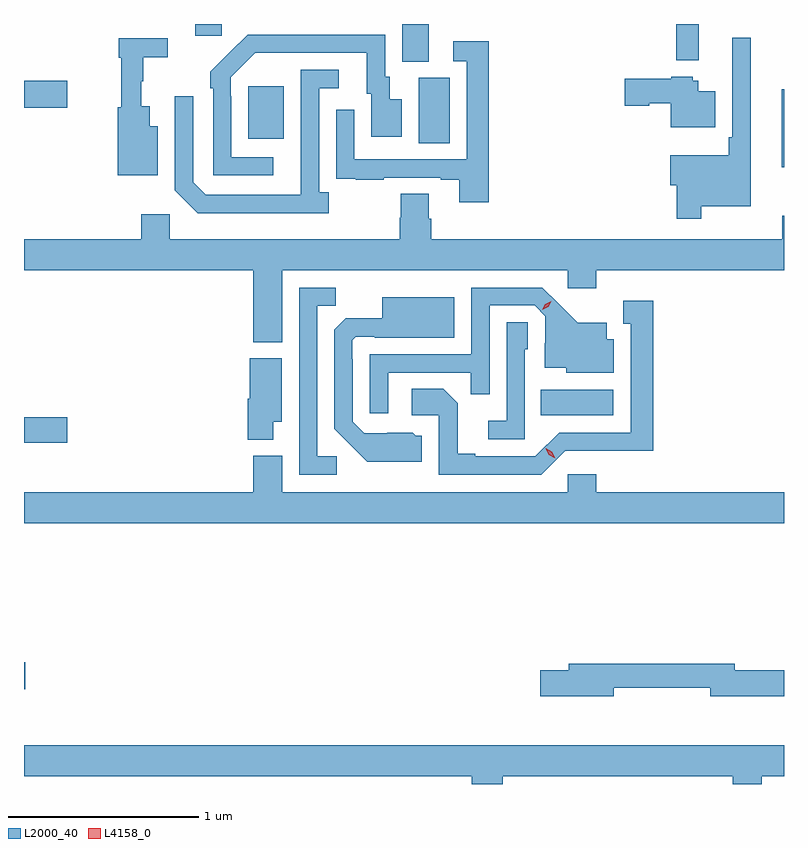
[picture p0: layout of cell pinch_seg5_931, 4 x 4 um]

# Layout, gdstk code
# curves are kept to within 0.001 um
import gdstk
lib = gdstk.Library(unit=1e-6, precision=1e-09)
def R(c, l, rs):  # rectangles x0, y0, x1, y1
    for r in rs: c.add(gdstk.rectangle(r[:2], r[2:], *l))
def P(c, l, *ps):  # polygons
    for p in ps: c.add(gdstk.Polygon(p, *l))
L2000_40 = (2000, 40)
L4158_0 = (4158, 0)

pinch_seg5_931 = lib.new_cell('pinch_seg5_931')
R(pinch_seg5_931, L2000_40, [(687.205,890.518,687.211,890.66), (687.205,891.815,687.433,891.95), (689.926,891.962,690.307,892.096), (691.193,893.267,691.205,893.677), (689.282,893.392,689.446,893.736), (688.385,893.417,688.573,893.692), (687.205,893.579,687.433,893.721), (689.195,893.821,689.335,894.02), (690.637,893.828,690.755,894.02), (688.106,893.958,688.245,894.02)])
P(pinch_seg5_931, L2000_40, [(688.516,893.319),(688.296,893.319),(688.296,893.639),(688.293,893.639),(688.293,893.739),(688.422,893.868),(689.009,893.868),(689.009,893.652),(689.033,893.652),(689.033,893.427),(689.194,893.427),(689.194,893.623),(689.131,893.623),(689.131,893.742),(689.106,893.742),(689.106,893.964),(688.382,893.964),(688.185,893.769),(688.185,893.681),(688.2,893.681),(688.2,893.223),(688.516,893.223)],
  [(690.769,893.06),(691.03,893.06),(691.03,893.947),(690.933,893.947),(690.933,893.425),(690.913,893.425),(690.913,893.329),(690.606,893.329),(690.606,893.171),(690.64,893.171),(690.64,892.995),(690.769,892.995)],
  [(687.91,893.482),(687.868,893.482),(687.868,893.587),(687.821,893.587),(687.821,893.718),(687.832,893.718),(687.832,893.845),(687.961,893.845),(687.961,893.946),(687.703,893.946),(687.703,893.843),(687.718,893.843),(687.718,893.583),(687.698,893.583),(687.698,893.225),(687.91,893.225)],
  [(689.651,893.929),(689.463,893.929),(689.463,893.823),(689.535,893.823),(689.535,893.307),(688.944,893.307),(688.944,893.569),(688.848,893.569),(688.848,893.314),(688.849,893.314),(688.849,893.205),(688.951,893.205),(688.951,893.199),(689.099,893.199),(689.099,893.211),(689.399,893.211),(689.399,893.199),(689.495,893.199),(689.495,893.082),(689.651,893.082)],
  [(688.81,893.134),(688.758,893.134),(688.758,893.682),(688.861,893.682),(688.861,893.778),(688.662,893.778),(688.661,893.121),(688.161,893.121),(688.095,893.187),(688.095,893.641),(687.999,893.641),(687.999,893.145),(688.12,893.024),(688.81,893.024)],
  [(690.844,893.665),(690.754,893.665),(690.754,893.721),(690.726,893.721),(690.726,893.743),(690.612,893.743),(690.612,893.733),(690.366,893.733),(690.366,893.591),(690.495,893.591),(690.495,893.603),(690.608,893.603),(690.608,893.477),(690.844,893.477)],
  [(688.564,892.724),(690.066,892.724),(690.066,892.629),(690.218,892.629),(690.218,892.724),(691.205,892.724),(691.205,893.012),(691.197,893.012),(691.197,892.888),(689.348,892.888),(689.348,892.994),(689.335,892.994),(689.335,893.126),(689.188,893.126),(689.188,893.001),(689.183,893.001),(689.183,892.888),(687.972,892.888),(687.972,893.02),(687.821,893.02),(687.821,892.888),(687.205,892.888),(687.205,892.724),(688.412,892.724),(688.412,892.346),(688.564,892.346)],
  [(689.121,892.185),(689.557,892.185),(689.557,892.072),(689.655,892.072),(689.655,892.539),(689.892,892.539),(689.949,892.482),(689.949,892.34),(689.945,892.34),(689.945,892.211),(690.06,892.211),(690.06,892.184),(690.31,892.184),(690.31,892.36),(690.271,892.36),(690.271,892.447),(690.119,892.447),(689.932,892.632),(689.559,892.632),(689.559,892.281),(689.025,892.281),(689.025,891.972),(689.121,891.972)],
  [(688.852,891.744),(688.749,891.744),(688.749,892.537),(688.845,892.537),(688.845,892.632),(688.653,892.632),(688.653,891.648),(688.852,891.648)],
  [(689.299,891.852),(689.268,891.852),(689.252,891.868),(688.995,891.867),(688.935,891.927),(688.935,892.256),(688.932,892.256),(688.932,892.356),(688.95,892.374),(689.05,892.374),(689.05,892.37),(689.47,892.37),(689.47,892.582),(689.09,892.582),(689.09,892.471),(688.898,892.471),(688.839,892.412),(688.839,891.89),(689.011,891.716),(689.299,891.716)],
  [(690.054,891.774),(690.517,891.773),(690.517,892.564),(690.359,892.564),(690.359,892.443),(690.398,892.443),(690.398,891.87),(690.021,891.87),(689.895,891.744),(689.581,891.744),(689.581,891.757),(689.487,891.757),(689.487,892.024),(689.411,892.1),(689.247,892.1),(689.247,891.96),(689.388,891.96),(689.388,891.648),(689.928,891.648)],
  [(689.841,892.308),(689.856,892.308),(689.856,892.451),(689.745,892.451),(689.745,891.931),(689.649,891.931),(689.649,891.834),(689.841,891.834)],
  [(688.516,891.926),(688.561,891.926),(688.561,892.261),(688.394,892.261),(688.394,892.047),(688.382,892.047),(688.382,891.833),(688.516,891.833)],
  [(691.205,891.556),(690.218,891.556),(690.218,891.649),(690.066,891.649),(690.066,891.556),(688.564,891.556),(688.564,891.748),(688.412,891.748),(688.412,891.556),(687.205,891.556),(687.205,891.392),(691.205,891.392)],
  [(690.31,890.526),(690.818,890.526),(690.818,890.483),(691.205,890.483),(691.205,890.618),(690.946,890.618),(690.946,890.654),(690.071,890.654),(690.071,890.618),(689.922,890.618),(689.922,890.483),(690.31,890.483)],
  [(689.726,890.06),(690.936,890.06),(690.936,890.02),(691.088,890.02),(691.088,890.06),(691.205,890.06),(691.205,890.224),(687.205,890.224),(687.205,890.06),(689.561,890.06),(689.561,890.02),(689.726,890.02)])
P(pinch_seg5_931, L4158_0, [(690,891.735),(689.968,891.754),(689.951,891.786),(689.951,891.786),(689.951,891.786),(689.983,891.768),(690,891.735),(690,891.735)],
  [(689.932,892.516),(689.932,892.516),(689.949,892.545),(689.98,892.56),(689.98,892.56),(689.98,892.56),(689.963,892.531),(689.932,892.516)])

lib.write_gds('pinch_seg5_931.gds')
